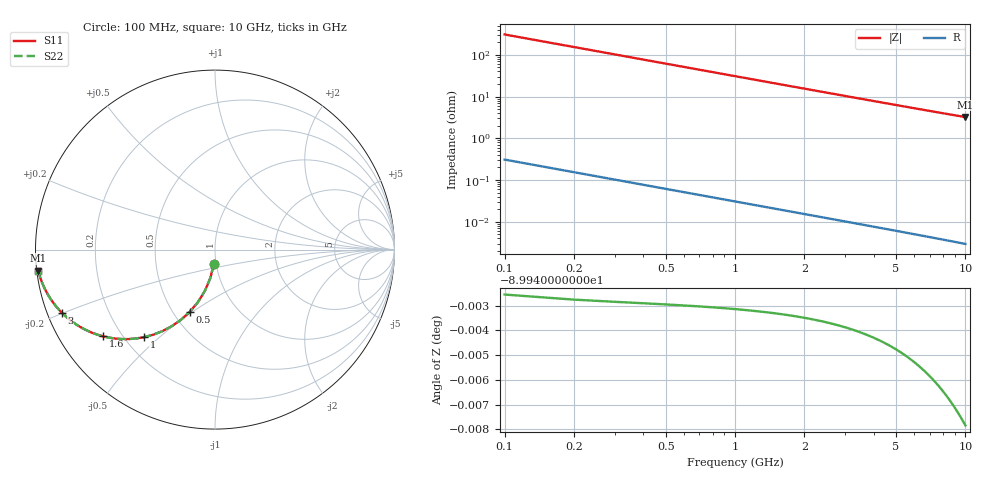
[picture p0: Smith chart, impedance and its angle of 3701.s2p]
# Hz S RI R 50.00
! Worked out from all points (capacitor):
!   100 points, 100 MHz to 10 GHz, reference 50 ohm
!   read as one part in shunt: C = 5.16 pF near 100 MHz
!   lowest |Z| = 3.23 ohm at 10 GHz (marker M1)
!   S11 on the Smith chart (normalised r, x): 100 MHz: 0.97, -0.16; 500 MHz: 0.60, -0.49; 1 GHz: 0.28, -0.45; 1.6 GHz: 0.13, -0.34; 3 GHz: 0.04, -0.20; 10 GHz: 0.00, -0.06
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1e8  -0.00659 -0.0804  0.9934 -0.0805  0.9934 -0.0805  -0.00659 -0.0804
2e8  -0.0257 -0.1577  0.9743 -0.1579  0.9743 -0.1579  -0.0257 -0.1577
3e8  -0.0559 -0.2292  0.944 -0.2295  0.944 -0.2295  -0.0559 -0.2292
4e8  -0.0952 -0.2928  0.9048 -0.2932  0.9048 -0.2932  -0.0952 -0.2928
5e8  -0.141 -0.3473  0.8589 -0.3478  0.8589 -0.3478  -0.141 -0.3473
6e8  -0.1911 -0.3924  0.8089 -0.393  0.8089 -0.393  -0.1911 -0.3924
7e8  -0.2432 -0.4281  0.7568 -0.4289  0.7568 -0.4289  -0.2432 -0.4281
8e8  -0.2954 -0.4553  0.7045 -0.4562  0.7045 -0.4562  -0.2954 -0.4553
1e9  -0.3955 -0.488  0.6045 -0.489  0.6045 -0.489  -0.3955 -0.488
1.3e9  -0.5246 -0.4982  0.4754 -0.4996  0.4754 -0.4996  -0.5246 -0.4982
1.6e9  -0.6252 -0.4827  0.3748 -0.4844  0.3748 -0.4844  -0.6252 -0.4827
1.8e9  -0.6783 -0.4657  0.3216 -0.4675  0.3216 -0.4675  -0.6783 -0.4657
2e9  -0.7222 -0.4464  0.2777 -0.4484  0.2777 -0.4484  -0.7222 -0.4464
2.3e9  -0.7744 -0.4163  0.2256 -0.4186  0.2256 -0.4186  -0.7744 -0.4163
2.6e9  -0.8141 -0.3871  0.1858 -0.3898  0.1858 -0.3898  -0.8141 -0.3871
3e9  -0.8534 -0.3517  0.1466 -0.3548  0.1466 -0.3548  -0.8534 -0.3517
3.4e9  -0.8818 -0.3205  0.1181 -0.324  0.1181 -0.324  -0.8818 -0.3205
4.2e9  -0.9191 -0.27  0.0809 -0.2744  0.0809 -0.2744  -0.9191 -0.27
5.1e9  -0.9436 -0.2276  0.0564 -0.2329  0.0564 -0.2329  -0.9436 -0.2276
6.7e9  -0.9665 -0.1759  0.0335 -0.183  0.0335 -0.183  -0.9665 -0.1759
8.4e9  -0.9784 -0.1402  0.0215 -0.1491  0.0215 -0.1491  -0.9784 -0.1402
1e10  -0.9847 -0.1166  0.0152 -0.1273  0.0152 -0.1273  -0.9847 -0.1166
